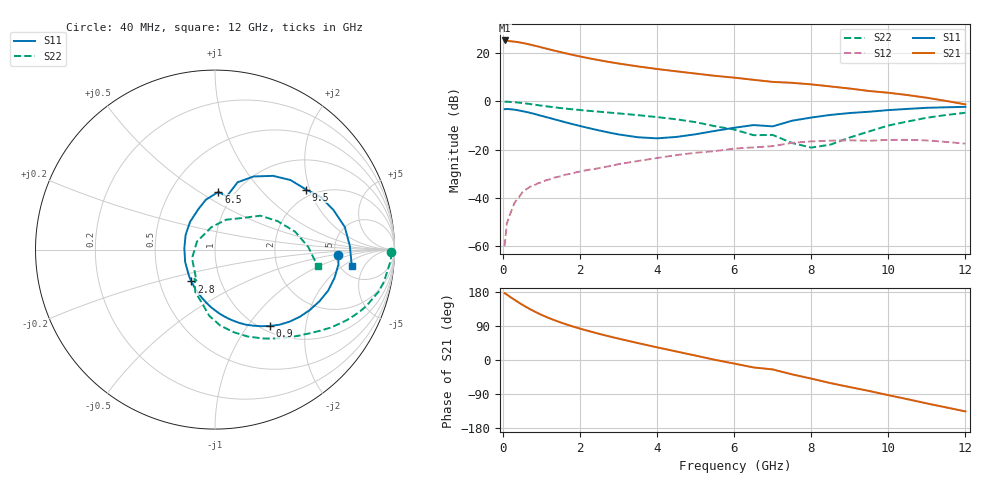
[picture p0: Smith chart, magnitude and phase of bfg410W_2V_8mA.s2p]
! Filename: 28bfg410.001
! BFG410W Field B1
! V1=8.712E-001V,V2=2.000E+000V, I1=1.222E-004A, I2=8.000E-003A
# GHz  S  MA  R 50
!  S11  S21  S12  S22
!Freq(GHz)  Mag  Ang  Mag  Ang  Mag  Ang  Mag  Ang
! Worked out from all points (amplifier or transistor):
!   44 points, 40 MHz to 12 GHz, reference 50 ohm
!   highest |S21| = 25.2 dB at 40 MHz (marker M1)
!   |S21| within 3 dB of that: start of sweep to 1.03 GHz
!   unconditionally stable (mu >= 1): start of sweep to 40.77 MHz; 2.094 GHz to end of sweep
!   at 700 MHz: K = 0.45, MSG = 29.4 dB, |S12| = -35.4 dB
!   at 2.4 GHz: K = 1.09, MAG = 20.8 dB, |S12| = -28.0 dB
!   at 12 GHz: K = 1.53, MAG = 3.8 dB, |S12| = -17.5 dB
!   S11 on the Smith chart (normalised r, x): 40 MHz: 5.32, -0.61; 900 MHz: 1.10, -1.29; 2.8 GHz: 0.72, -0.27; 6.5 GHz: 0.84, +0.60; 9.5 GHz: 1.78, +1.89; 12 GHz: 6.27, -2.88
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0.04  0.687 -2.5  18.21 176.4  0.001 48.7  0.98 -0.8
0.1  0.693 -6.7  17.91 172.6  0.003 88.2  0.982 -3.2
0.2  0.684 -13.4  17.53 165.3  0.005 81.9  0.967 -7.4
0.3  0.67 -20.1  17.19 158.8  0.008 79.2  0.958 -10.8
0.4  0.649 -26.4  16.74 152.0  0.01 75.4  0.941 -14.5
0.5  0.626 -32.6  16.2 145.8  0.013 72.1  0.919 -17.4
0.6  0.603 -38.4  15.6 139.9  0.015 69.5  0.901 -20.3
0.7  0.578 -44.0  14.93 134.2  0.017 66.9  0.877 -23.2
0.9  0.525 -54.1  13.7 123.8  0.02 62.9  0.834 -28.1
1.2  0.453 -67.5  11.92 110.3  0.024 58.6  0.775 -34.2
1.5  0.39 -79.3  10.41 98.9  0.028 55.6  0.724 -39.3
1.8  0.337 -90.2  9.17 88.8  0.032 53.4  0.683 -43.9
2.2  0.282 -104.2  7.869 77.0  0.038 50.9  0.638 -49.9
2.8  0.221 -126.6  6.436 61.2  0.046 46.9  0.58 -58.7
3.5  0.18 -157.6  5.283 44.6  0.058 41.0  0.517 -69.5
4.5  0.183 153.5  4.176 22.4  0.077 29.5  0.424 -86.1
5.5  0.244 112.3  3.369 0.4  0.093 14.7  0.305 -104.0
6.5  0.322 86.6  2.786 -19.6  0.111 1.0  0.199 -125.1
8.5  0.523 51.8  2.03 -61.0  0.153 -32.6  0.127 98.8
9.5  0.608 33.4  1.636 -81.7  0.152 -52.3  0.238 48.0
10.5  0.696 18.4  1.346 -103.5  0.159 -72.8  0.382 24.7
12  0.768 -7.0  0.863 -135.7  0.133 -110.5  0.58 -9.3
